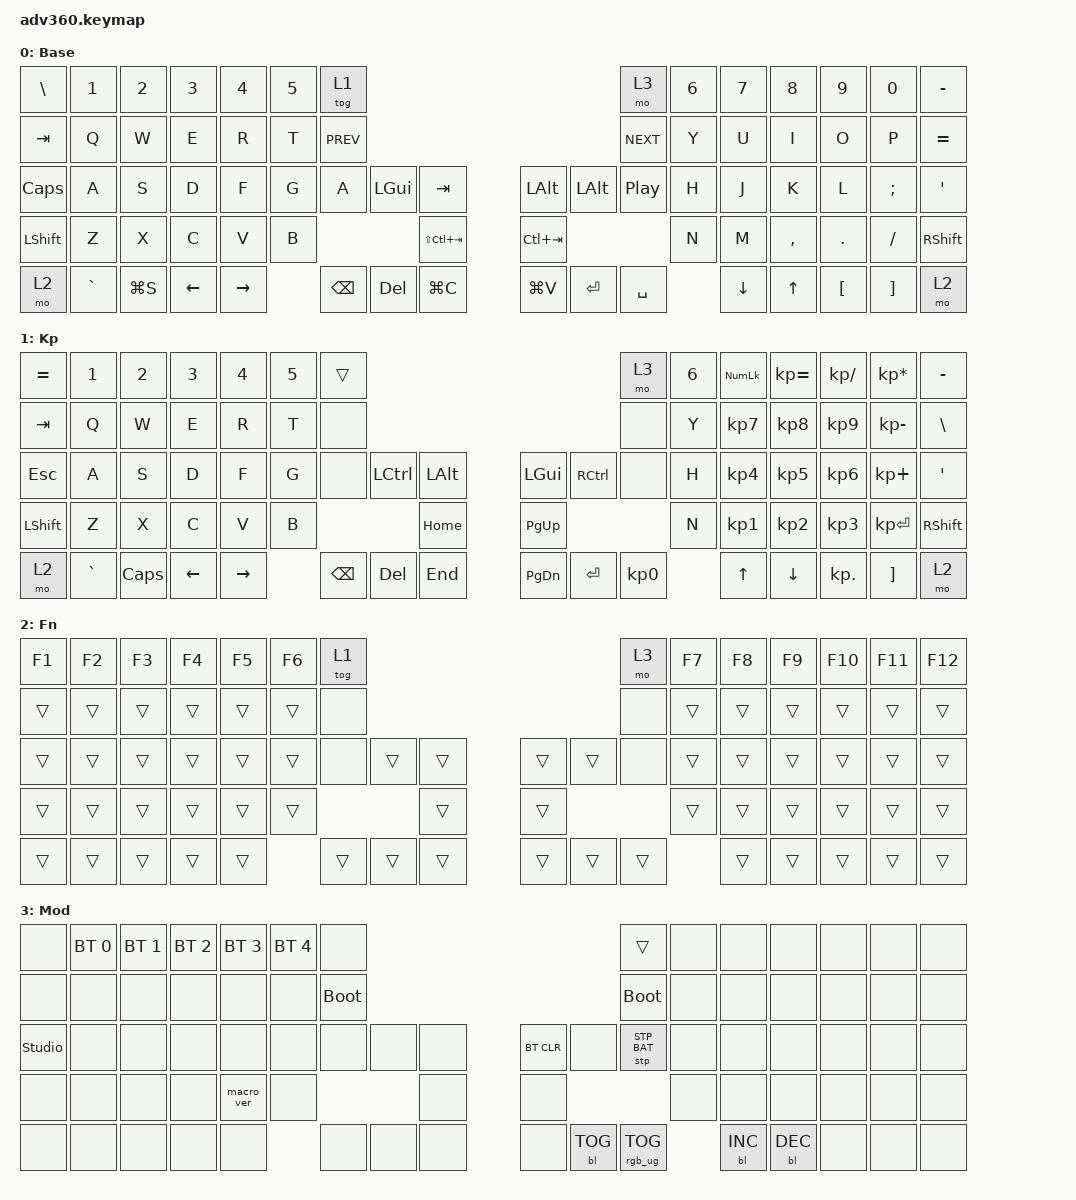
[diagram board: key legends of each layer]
#include <dt-bindings/zmk/stp.h>
#include <behaviors.dtsi>
#include <dt-bindings/zmk/backlight.h>
#include <dt-bindings/zmk/bt.h>
#include <dt-bindings/zmk/keys.h>
#include <dt-bindings/zmk/rgb.h>

/ {
    behaviors {
        #include "macros.dtsi"
      #include "version.dtsi"

        hm: homerow_mods {
            compatible = "zmk,behavior-hold-tap";
            label = "HOMEROW_MODS";
            #binding-cells = <2>;
            tapping-term-ms = <200>;
            quick_tap_ms = <175>;
            flavor = "balanced";
            bindings = <&kp>, <&kp>;
        };

        space_underscore: space_underscore {
            compatible = "zmk,behavior-mod-morph";
            label = "SPACE_UNDERSCORE";
            bindings = <&kp SPACE>, <&kp UNDER>;

            #binding-cells = <0>;
            mods = <(MOD_LSFT|MOD_RSFT)>;
        };
    };

    keymap {
        compatible = "zmk,keymap";

        default_layer {
            display-name = "Base";
            bindings = <
&kp BACKSLASH  &kp N1     &kp N2     &kp N3    &kp N4     &kp N5  &tog 1                                                                     &mo 3             &kp N6  &kp N7    &kp N8        &kp N9    &kp N0    &kp MINUS
&kp TAB        &kp Q      &kp W      &kp E     &kp R      &kp T   &kp C_PREV                                                                 &kp C_NEXT        &kp Y   &kp U     &kp I         &kp O     &kp P     &kp EQUAL
&kp CAPSLOCK   &kp A      &kp S      &kp D     &kp F      &kp G   &kp A       &kp LEFT_GUI  &kp TAB              &kp LEFT_ALT  &kp LEFT_ALT  &kp C_PLAY_PAUSE  &kp H   &kp J     &kp K         &kp L     &kp SEMI  &kp SQT
&kp LSHFT      &kp Z      &kp X      &kp C     &kp V      &kp B                             &kp LS(LC(TAB))      &kp LC(TAB)                                   &kp N   &kp M     &kp COMMA     &kp DOT   &kp FSLH  &kp RSHFT
&mo 2          &kp GRAVE  &kp LG(S)  &kp LEFT  &kp RIGHT          &kp BSPC    &kp DEL       &kp LG(C)            &kp LG(V)     &kp ENTER     &kp SPACE                 &kp DOWN  &kp UP_ARROW  &kp LBKT  &kp RBKT  &mo 2
            >;
        };

        keypad {
            display-name = "Kp";
            bindings = <
&kp EQUAL  &kp N1     &kp N2    &kp N3    &kp N4     &kp N5  &trans                                                   &mo 3      &kp N6  &kp KP_NUM  &kp KP_EQUAL  &kp KP_DIVIDE  &kp KP_MULTIPLY  &kp MINUS
&kp TAB    &kp Q      &kp W     &kp E     &kp R      &kp T   &none                                                    &none      &kp Y   &kp KP_N7   &kp KP_N8     &kp KP_N9      &kp KP_MINUS     &kp BSLH
&kp ESC    &kp A      &kp S     &kp D     &kp F      &kp G   &none     &kp LCTRL  &kp LALT      &kp LGUI   &kp RCTRL  &none      &kp H   &kp KP_N4   &kp KP_N5     &kp KP_N6      &kp KP_PLUS      &kp SQT
&kp LSHFT  &kp Z      &kp X     &kp C     &kp V      &kp B                        &kp HOME      &kp PG_UP                        &kp N   &kp KP_N1   &kp KP_N2     &kp KP_N3      &kp KP_ENTER     &kp RSHFT
&mo 2      &kp GRAVE  &kp CAPS  &kp LEFT  &kp RIGHT          &kp BSPC  &kp DEL    &kp END       &kp PG_DN  &kp ENTER  &kp KP_N0          &kp UP      &kp DOWN      &kp KP_DOT     &kp RBKT         &mo 2
            >;
        };

        fn {
            display-name = "Fn";
            bindings = <
&kp F1  &kp F2  &kp F3  &kp F4  &kp F5  &kp F6  &tog 1                                      &mo 3   &kp F7  &kp F8  &kp F9  &kp F10  &kp F11  &kp F12
&trans  &trans  &trans  &trans  &trans  &trans  &none                                       &none   &trans  &trans  &trans  &trans   &trans   &trans
&trans  &trans  &trans  &trans  &trans  &trans  &none   &trans  &trans      &trans  &trans  &none   &trans  &trans  &trans  &trans   &trans   &trans
&trans  &trans  &trans  &trans  &trans  &trans                  &trans      &trans                  &trans  &trans  &trans  &trans   &trans   &trans
&trans  &trans  &trans  &trans  &trans          &trans  &trans  &trans      &trans  &trans  &trans          &trans  &trans  &trans   &trans   &trans
            >;
        };

        mod {
            display-name = "Mod";
            bindings = <
&none           &bt BT_SEL 0  &bt BT_SEL 1  &bt BT_SEL 2  &bt BT_SEL 3  &bt BT_SEL 4  &none                                                  &trans           &none  &none       &none       &none  &none  &none
&none           &none         &none         &none         &none         &none         &bootloader                                            &bootloader      &none  &none       &none       &none  &none  &none
&studio_unlock  &none         &none         &none         &none         &none         &none        &none  &none      &bt BT_CLR  &none       &stp STP_BAT     &none  &none       &none       &none  &none  &none
&none           &none         &none         &none         &macro_ver    &none                             &none      &none                                    &none  &none       &none       &none  &none  &none
&none           &none         &none         &none         &none                       &none        &none  &none      &none       &bl BL_TOG  &rgb_ug RGB_TOG         &bl BL_INC  &bl BL_DEC  &none  &none  &none
            >;
        };

        extra1 {
            display-name = "Red";
            status = "reserved";
        };

        extra2 {
            display-name = "Purple";
            status = "reserved";
        };

        extra3 {
            display-name = "Cyan";
            status = "reserved";
        };

        extra4 {
            display-name = "Yellow";
            status = "reserved";
        };
    };
};
